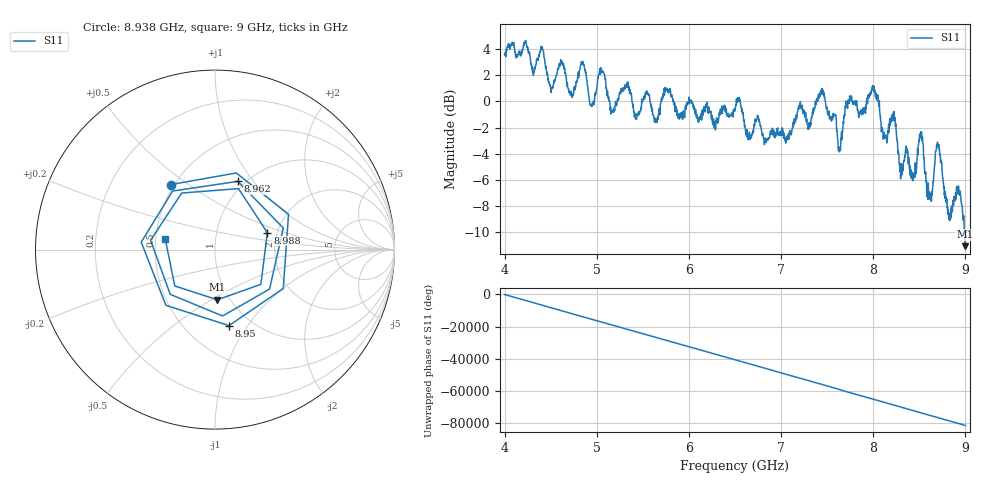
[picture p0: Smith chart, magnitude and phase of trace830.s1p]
! Created with skrf 1.8.0 (http://scikit-rf.org).
# Hz S RI R 50.0
!freq ReS11 ImS11
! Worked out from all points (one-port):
!   1601 points, 4 GHz to 9 GHz, reference 50 ohm
!   lowest |S11| = -11.1 dB at 8.994 GHz (marker M1), VSWR 1.78, Z = 43.8 - j26.6 ohm
!   |S11| at or under -10 dB: 8.987278 GHz to 8.990084 GHz (2.806 MHz wide, 0.0312 % of centre); 8.991303 GHz to end of sweep
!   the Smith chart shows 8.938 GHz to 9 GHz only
!   S11 on the Smith chart (normalised r, x): 8.938 GHz: 0.48, +0.43; 8.95 GHz: 0.79, -0.82; 8.962 GHz: 0.93, +0.84; 8.988 GHz: 1.77, +0.37; 9 GHz: 0.56, +0.07
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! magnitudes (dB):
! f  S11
! 4 GHz  3.6
! 4.506 GHz  0.8
! 4.625 GHz  3.1
! 4.722 GHz  0.5
! 4.844 GHz  3.0
! 4.944 GHz  -0.4
! 5.047 GHz  2.2
! 5.169 GHz  -0.7
! 5.25 GHz  0.6
! 5.875 GHz  -1.1
! 6.5 GHz  -0.7
! 7.125 GHz  -2.0
! 7.447 GHz  0.5
! 7.634 GHz  -3.9
! 7.75 GHz  0.4
! 8.003 GHz  0.8
! 8.375 GHz  -3.8
! 8.438 GHz  -5.5
! 8.519 GHz  -2.6
! 8.619 GHz  -7.5
! 8.7 GHz  -3.4
! 8.819 GHz  -8.5
! 8.938 GHz  -7.2
! 8.95 GHz  -7.3
! 8.962 GHz  -7.9
! 8.988 GHz  -10.3
! 8.994 GHz  -11.1
! 9 GHz  -11.0
